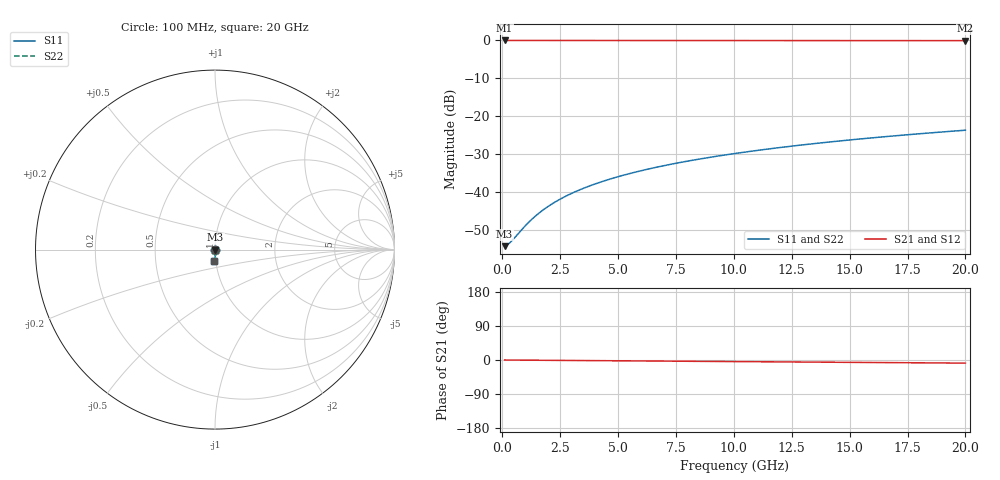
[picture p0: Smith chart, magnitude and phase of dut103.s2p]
! Touchstone file exported from HFSS 2026.1.0
!  File:  C:/ffzhzh/LocalFiles/Ansys_Project_Files/temp_train_TSV_103_1782989494_40604.aedt
!  Generated:  06:53:50 PM Jul  2, 2026
!  Design:  TSV
!  Project:  temp_train_TSV_103_1782989494_40604
! Variables:
!  h_bsmrdl = 2um
!  h_ox = 20um
!  h_rdl = 5um
!  h_sub = 78.54um
!  h_tmrdl = 5um
!  h_tsv = 78.54um
!  h_via = 3um
!  l_bsmrdl = 300um
!  l_sub = 404.38um
!  l_tmrdl = 200um
!  m_sub = 200um
!  pitch = 5.78um
!  r_tsv = 2.19um
!  s_tmrdl = 10um
!  w_bsmrdl = 18um
!  w_sub = 500um
!  w_tmrdl = 12um
!  x_tsv_center1 = 206um
!  x_tsv_center2 = 524um
!  x_tsv_center3 = 736um
!  x_tsv_center4 = 1054um
!  x_tsv_center5 = 1266um
!  x_tsv_center6 = 1584um
# GHz S MA R 50.000000
! Terminal data exported
! Port[1] = TSV1_1_T1
! Port[2] = TSV1_1_T2
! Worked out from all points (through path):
!   200 points, 100 MHz to 20 GHz, reference 50 ohm
!   highest |S21| = -0.02 dB at 100 MHz (marker M1); lowest = -0.1 dB at 20 GHz (marker M2)
!   group delay of S21, straight-line fit = 1.14 ps
!   lowest |S11| = -54.4 dB at 100 MHz (marker M3), VSWR 1.00, Z = 50.2 - j0.0259 ohm
!   |S11| at or under -10 dB: start of sweep to end of sweep
!   |S22| runs from -54.4 to -23.7 dB; largest |S21 - S12| = 2.1e-15
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0.1  0.001905 -7.8  0.9981 -0.0  0.9981 -0.0  0.001905 -7.8
! Gamma 0 0 0 0
! Port Impedance 50 0 50 0
0.2  0.001971 -15.2  0.9981 -0.1  0.9981 -0.1  0.001971 -15.2
0.3  0.002078 -22.1  0.9981 -0.1  0.9981 -0.1  0.002078 -22.1
0.5  0.002395 -33.9  0.998 -0.2  0.998 -0.2  0.002395 -33.9
0.9  0.003299 -49.9  0.9979 -0.4  0.9979 -0.4  0.003299 -49.9
1.2  0.004105 -57.5  0.9978 -0.5  0.9978 -0.5  0.004105 -57.5
1.5  0.004963 -62.9  0.9977 -0.6  0.9977 -0.6  0.004963 -62.9
1.8  0.00585 -66.8  0.9976 -0.8  0.9976 -0.8  0.00585 -66.8
2.2  0.007058 -70.7  0.9975 -0.9  0.9975 -0.9  0.007058 -70.7
2.6  0.008284 -73.6  0.9975 -1.1  0.9975 -1.1  0.008284 -73.6
3  0.009519 -75.7  0.9974 -1.3  0.9974 -1.3  0.009519 -75.7
3.5  0.01107 -77.8  0.9973 -1.5  0.9973 -1.5  0.01107 -77.8
4.2  0.01326 -80.0  0.9972 -1.8  0.9972 -1.8  0.01326 -80.0
5  0.01578 -81.8  0.9971 -2.1  0.9971 -2.1  0.01578 -81.8
5.9  0.01863 -83.3  0.9969 -2.5  0.9969 -2.5  0.01863 -83.3
6.8  0.0215 -84.5  0.9967 -2.8  0.9967 -2.8  0.0215 -84.5
8.3  0.02632 -86.1  0.9963 -3.5  0.9963 -3.5  0.02632 -86.1
10.1  0.03216 -87.5  0.9957 -4.2  0.9957 -4.2  0.03216 -87.5
11.7  0.03739 -88.6  0.9952 -4.9  0.9952 -4.9  0.03739 -88.6
13.4  0.04299 -89.6  0.9946 -5.6  0.9946 -5.6  0.04299 -89.6
16.7  0.05395 -91.5  0.9934 -6.9  0.9934 -6.9  0.05395 -91.5
20  0.06497 -93.2  0.9921 -8.2  0.9921 -8.2  0.06497 -93.2
